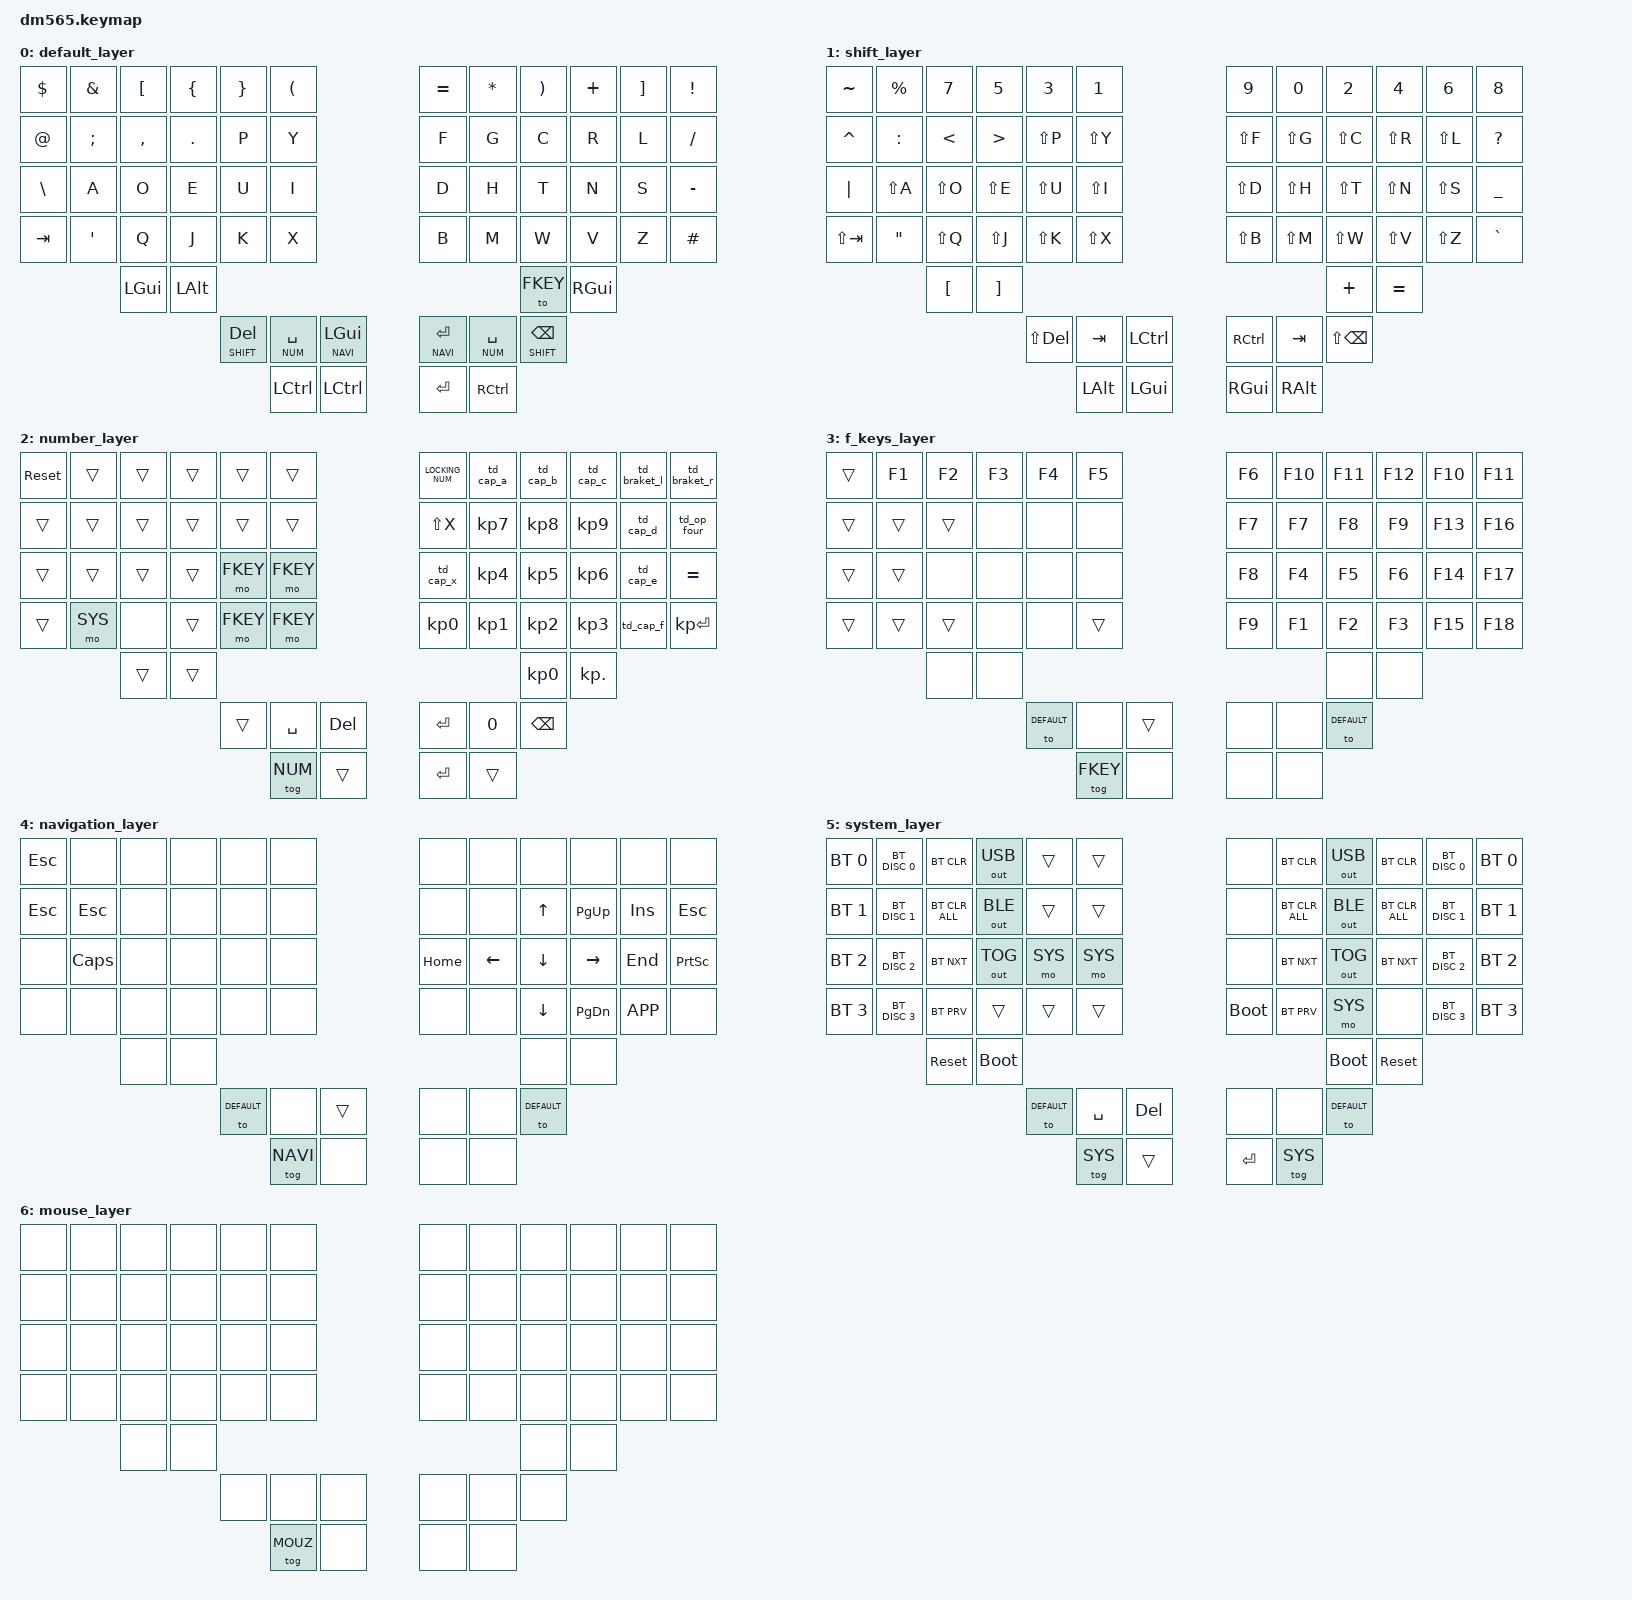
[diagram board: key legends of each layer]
#include <behaviors.dtsi>
#include <dt-bindings/zmk/keys.h>
#include <dt-bindings/zmk/bt.h>
#include <dt-bindings/zmk/outputs.h>

#define DEFAULT 0
#define SHIFT 1
#define NUM 2
#define FKEY 3
#define NAVI 4
#define SYS 5
#define MOUZ 6


/ {
    behaviors {
        
        td_cap_a: tap_dance_a {
            compatible = "zmk,behavior-tap-dance";
            #binding-cells = <0>;
            tapping-term-ms = <200>;
            bindings = <&kp A>, <&kp LS(A)>;
        };
        td_cap_b: tap_dance_b{
            compatible = "zmk,behavior-tap-dance";
            #binding-cells = <0>;
            tapping-term-ms = <200>;
            bindings = <&kp B>, <&kp LS(B)>;
        };
        td_cap_c: tap_dance_c{
            compatible = "zmk,behavior-tap-dance";
            #binding-cells = <0>;
            tapping-term-ms = <200>;
            bindings = <&kp C>, <&kp LS(C)>;
        };
        td_cap_d: tap_dance_d{
            compatible = "zmk,behavior-tap-dance";
            #binding-cells = <0>;
            tapping-term-ms = <200>;
            bindings = <&kp D>, <&kp LS(D)>;
        };
        td_cap_e: tap_dance_e{
            compatible = "zmk,behavior-tap-dance";
            #binding-cells = <0>;
            tapping-term-ms = <200>;
            bindings = <&kp E>, <&kp LS(E)>;
        };
        td_cap_f: tap_dance_f{
            compatible = "zmk,behavior-tap-dance";
            #binding-cells = <0>;
            tapping-term-ms = <200>;
            bindings = <&kp F>, <&kp LS(F)>;
        };
        td_cap_x: tap_dance_x{
            compatible = "zmk,behavior-tap-dance";
            #binding-cells = <0>;
            tapping-term-ms = <200>;
            bindings = <&kp X>, <&kp LS(X)>;
        };
        // tap dace + - * / 
        td_op_four: tap_dance_op_four{
            compatible = "zmk,behavior-tap-dance";
            #binding-cells = <0>;
            tapping-term-ms = <200>;
            bindings = <&kp KP_PLUS>, <&kp KP_MINUS>,<&kp KP_MULTIPLY>,<&kp KP_DIVIDE>;
        };
        // tap dace () [] {}
        td_braket_r: tap_dance_braket_r{
            compatible = "zmk,behavior-tap-dance";
            #binding-cells = <0>;
            tapping-term-ms = <200>;
            bindings = <&kp RIGHT_PARENTHESIS>, <&kp RIGHT_BRACKET>,<&kp RIGHT_BRACE>;
        };
        td_braket_l: tap_dance_braket_l{
            compatible = "zmk,behavior-tap-dance";
            #binding-cells = <0>;
            tapping-term-ms = <200>;
            bindings = <&kp LEFT_PARENTHESIS>, <&kp LEFT_BRACKET>,<&kp LEFT_BRACE>;
        };
        
        td_lay_switch: tap_dance_lay_switch{
            compatible = "zmk,behavior-tap-dance";
            #binding-cells = <0>;
            tapping-term-ms = <200>;
            bindings = <&to DEFAULT>, <&to NUM>, <&to FKEY>,<&to NAVI>,<&to SYS>;
        };
    };

    keymap {
        compatible = "zmk,keymap";

        default_layer {
            bindings = < 
                &kp DLLR    &kp AMPS     &kp LBKT      &kp LBRC     &kp RBRC     &kp LPAR                                        &kp EQUAL   &kp STAR    &kp RPAR   &kp PLUS      &kp RBKT     &kp EXCL
                &kp AT      &kp SEMI     &kp COMMA     &kp DOT      &kp P        &kp Y                                           &kp F       &kp G       &kp C      &kp R         &kp L        &kp FSLH
                &kp BSLH    &kp A        &kp O         &kp E        &kp U        &kp I                                           &kp D       &kp H       &kp T      &kp N         &kp S        &kp MINUS
                &kp TAB     &kp SQT      &kp Q         &kp J        &kp K        &kp X                                           &kp B       &kp M       &kp W      &kp V         &kp Z        &kp POUND
                                         &kp LGUI      &kp LALT                                                                                          &to FKEY    &kp RGUI
                                                                    &lt SHIFT DEL  &lt NUM SPACE    &lt NAVI LGUI          &lt NAVI ENTER &lt NUM SPACE   &lt SHIFT BSPC
                                                                                   &kp LCTRL    &kp LCTRL                  &kp ENTER &kp RCTRL
            >;
        };
        
        shift_layer {
            bindings = <
                &kp TILDE   &kp PERCENT  &kp N7        &kp N5       &kp N3       &kp N1                                          &kp N9      &kp N0       &kp N2       &kp N4      &kp N6       &kp N8
                &kp CARET   &kp COLON    &kp LT        &kp GT       &kp LS(P)    &kp LS(Y)                                       &kp LS(F)   &kp LS(G)    &kp LS(C)    &kp LS(R)   &kp LS(L)    &kp QMARK
                &kp PIPE    &kp LS(A)    &kp LS(O)     &kp LS(E)    &kp LS(U)    &kp LS(I)                                       &kp LS(D)   &kp LS(H)    &kp LS(T)    &kp LS(N)   &kp LS(S)    &kp UNDER 
                &kp LS(TAB) &kp DQT      &kp LS(Q)     &kp LS(J)    &kp LS(K)    &kp LS(X)                                       &kp LS(B)   &kp LS(M)    &kp LS(W)    &kp LS(V)   &kp LS(Z)    &kp GRAVE
                                         &kp LBKT      &kp RBKT                                                                                            &kp PLUS    &kp EQUAL
                                                                    &kp LS(DEL) &kp TAB  &kp LCTRL                   &kp RCTRL  &kp TAB     &kp LS(BSPC)
                                                                    &kp LALT &kp LGUI                                     &kp RGUI   &kp RALT
            >;
        };

        number_layer {
            bindings = <
                &sys_reset &trans      &trans    &trans    &trans  &trans                                              &kp LOCKING_NUM  &td_cap_a     &td_cap_b     &td_cap_c      &td_braket_l    &td_braket_r
                &trans     &trans      &trans    &trans    &trans  &trans                                                 &kp LS(X)        &kp KP_N7     &kp KP_N8     &kp KP_N9      &td_cap_d       &td_op_four
                &trans     &trans      &trans    &trans    &mo FKEY  &mo FKEY                                             &td_cap_x        &kp KP_N4     &kp KP_N5     &kp KP_N6      &td_cap_e       &kp EQUAL
                &trans     &mo SYS     &none     &trans    &mo FKEY  &mo FKEY                                             &kp KP_N0        &kp KP_N1     &kp KP_N2     &kp KP_N3      &td_cap_f       &kp KP_ENTER
                                    &trans   &trans                                                                                                   &kp KP_N0     &kp KP_DOT
                                                                   &trans &kp SPACE   &kp DEL           &kp ENTER &kp N0 &kp BACKSPACE
                                                                          &tog NUM    &trans            &kp ENTER &trans
            >;
        };

        f_keys_layer {
            bindings = <
                &trans &kp F1 &kp F2 &kp F3 &kp F4  &kp F5                      &kp F6   &kp F10 &kp F11 &kp F12 &kp F10 &kp F11
                &trans &trans &trans &none &none  &none                         &kp F7   &kp F7  &kp F8  &kp F9  &kp F13 &kp F16
                &trans &trans &none  &none &none  &none                         &kp F8   &kp F4  &kp F5  &kp F6  &kp F14 &kp F17
                &trans &trans &trans &none &none  &trans                        &kp F9   &kp F1  &kp F2  &kp F3  &kp F15 &kp F18
                                   &none        &none                                                   &none &none
                                                      &to DEFAULT  &none &trans        &none &none &to DEFAULT 
                                                      &tog FKEY &none               &none &none
            >;
        };
        navigation_layer {
            bindings = <
                &kp ESC &none     &none &none &none  &none                                   &none       &none     &none        &none     &none     &none
                &kp ESC &kp ESC   &none &none &none  &none                                   &none       &none     &kp UP       &kp PG_UP &kp INS   &kp ESC
                &none   &kp CAPS  &none &none &none  &none                                   &kp HOME    &kp LEFT  &kp DOWN     &kp RIGHT &kp END   &kp PRINTSCREEN
                &none   &none     &none &none &none  &none                                   &none       &none     &kp DOWN     &kp PG_DN &kp K_APP &none
                                   &none        &none                                                              &none        &none
                                                      &to DEFAULT     &none &trans           &none &none &to DEFAULT 
                                                                  &tog NAVI &none          &none &none
            >;
        };
        
        system_layer {
            bindings = <
                &bt BT_SEL 0  &bt BT_DISC 0      &bt BT_CLR       &out  OUT_USB    &trans        &trans                         &none         &bt BT_CLR         &out  OUT_USB   &bt BT_CLR     &bt BT_DISC 0 &bt BT_SEL 0           
                &bt BT_SEL 1  &bt BT_DISC 1      &bt BT_CLR_ALL   &out  OUT_BLE    &trans        &trans                         &none         &bt BT_CLR_ALL     &out  OUT_BLE   &bt BT_CLR_ALL &bt BT_DISC 1 &bt BT_SEL 1
                &bt BT_SEL 2  &bt BT_DISC 2      &bt BT_NXT       &out  OUT_TOG    &mo SYS       &mo SYS                        &none         &bt BT_NXT         &out  OUT_TOG   &bt BT_NXT     &bt BT_DISC 2 &bt BT_SEL 2    
                &bt BT_SEL 3  &bt BT_DISC 3      &bt BT_PRV       &trans           &trans        &trans                         &bootloader   &bt BT_PRV         &mo SYS         &none          &bt BT_DISC 3 &bt BT_SEL 3
                                                 &sys_reset       &bootloader                                                                                    &bootloader     &sys_reset
                                                                        &to DEFAULT      &kp SPACE     &kp DEL            &none &none       &to DEFAULT
                                                                                 &tog SYS      &trans                     &kp ENTER &tog SYS
            >;
        };
        
        mouse_layer {
            bindings = <
                &none &none &none &none &none  &none                          &none &none  &none &none &none &none
                &none &none &none &none &none  &none                          &none &none  &none &none &none &none
                &none &none &none &none &none  &none                          &none &none  &none &none &none &none
                &none &none &none &none &none  &none                          &none &none  &none &none &none &none
                                  &none &none                                              &none &none
                                        &none &none     &none           &none &none &none
                                              &tog MOUZ &none           &none &none
            >;
        };
        
    };
};
